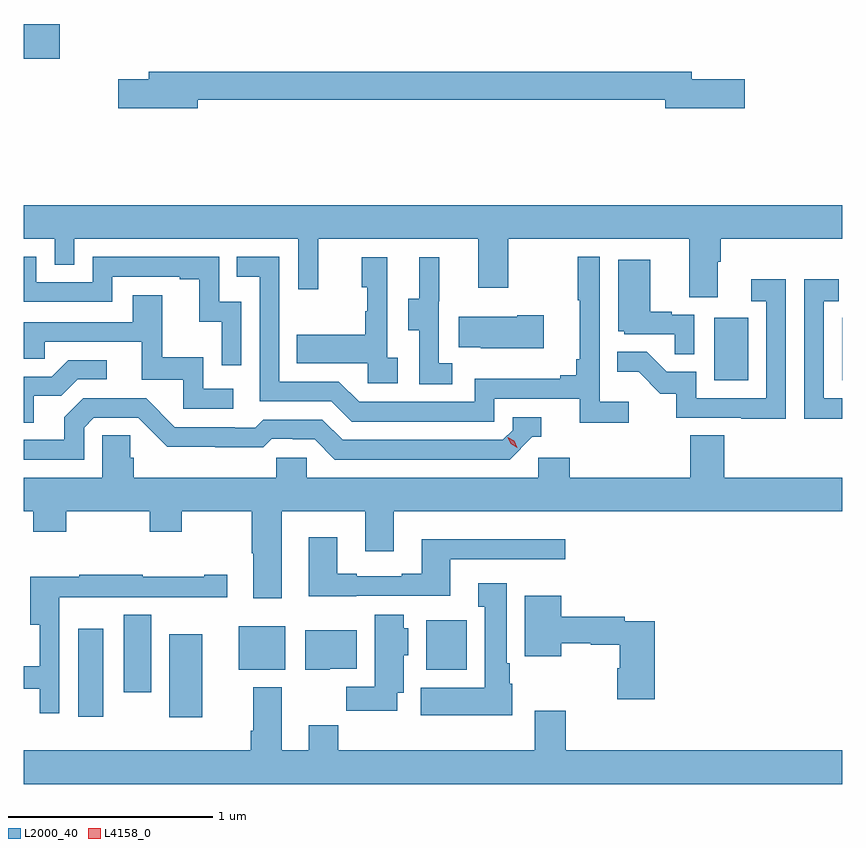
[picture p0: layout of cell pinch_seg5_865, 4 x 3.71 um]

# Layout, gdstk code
import gdstk
lib = gdstk.Library(unit=1e-6, precision=1e-09)
def R(c, l, rs):  # rectangles x0, y0, x1, y1
    for r in rs: c.add(gdstk.rectangle(r[:2], r[2:], *l))
def P(c, l, *ps):  # polygons
    for p in ps: c.add(gdstk.Polygon(p, *l))
L2000_40 = (2000, 40)
L4158_0 = (4158, 0)

pinch_seg5_865 = lib.new_cell('pinch_seg5_865')
R(pinch_seg5_865, L2000_40, [(839.576,889.053,839.737,889.459), (839.132,889.056,839.254,889.486), (839.354,889.176,839.488,889.556), (839.915,889.286,840.142,889.498), (840.833,889.286,841.03,889.528), (842.24,890.7,842.404,891.007), (842.864,890.7,842.865,891.007), (838.865,892.271,839.041,892.441)])
P(pinch_seg5_865, L2000_40, [(839.716,892.072),(842,892.072),(842,892.03),(842.389,892.03),(842.389,892.172),(842.128,892.172),(842.128,892.208),(839.477,892.208),(839.477,892.172),(839.328,892.172),(839.328,892.03),(839.716,892.03)],
  [(842.257,891.28),(842.27,891.28),(842.27,891.392),(842.865,891.392),(842.865,891.556),(838.865,891.556),(838.865,891.392),(839.016,891.392),(839.016,891.265),(839.112,891.265),(839.112,891.392),(840.207,891.392),(840.207,891.144),(840.305,891.144),(840.305,891.392),(841.085,891.392),(841.085,891.153),(841.233,891.153),(841.233,891.392),(842.117,891.392),(842.117,891.106),(842.257,891.106)],
  [(841.822,890.596),(841.68,890.596),(841.68,891.304),(841.572,891.304),(841.572,891.091),(841.583,891.091),(841.583,890.803),(841.564,890.803),(841.564,890.726),(841.487,890.726),(841.487,890.707),(841.068,890.707),(841.068,890.595),(840.504,890.595),(840.405,890.694),(840.114,890.694),(840.114,891.303),(839.905,891.303),(839.905,891.207),(840.018,891.207),(840.018,890.598),(840.368,890.598),(840.467,890.499),(841.164,890.499),(841.164,890.61),(841.583,890.61),(841.583,890.494),(841.822,890.494)],
  [(839.928,891.084),(839.82,891.084),(839.82,891.303),(839.202,891.303),(839.202,891.18),(838.926,891.18),(838.926,891.303),(838.865,891.303),(838.865,891.084),(839.298,891.084),(839.298,891.207),(839.627,891.207),(839.627,891.195),(839.723,891.195),(839.723,890.987),(839.832,890.987),(839.832,890.775),(839.928,890.775)],
  [(840.694,890.81),(840.642,890.81),(840.642,891.301),(840.518,891.301),(840.518,891.156),(840.544,891.156),(840.544,891.038),(840.534,891.038),(840.534,890.923),(840.199,890.923),(840.199,890.783),(840.546,890.783),(840.546,890.685),(840.694,890.685)],
  [(840.958,890.783),(840.894,890.783),(840.894,891.087),(840.896,891.087),(840.896,891.301),(840.797,891.301),(840.797,891.099),(840.743,891.099),(840.743,890.944),(840.798,890.944),(840.798,890.68),(840.958,890.68)],
  [(842.142,891.021),(842.031,891.021),(842.031,891.034),(841.927,891.034),(841.927,891.289),(841.769,891.289),(841.769,890.94),(841.8,890.94),(841.8,890.925),(842.047,890.925),(842.047,890.827),(842.142,890.827)],
  [(842.589,891.193),(842.421,891.193),(842.421,891.087),(842.493,891.087),(842.493,890.613),(842.151,890.613),(842.151,890.742),(842.007,890.742),(841.909,890.84),(841.765,890.84),(841.765,890.741),(841.869,890.741),(841.976,890.634),(842.053,890.634),(842.053,890.517),(842.371,890.517),(842.371,890.512),(842.589,890.512)],
  [(842.865,890.613),(842.775,890.613),(842.775,891.087),(842.848,891.087),(842.848,891.193),(842.679,891.193),(842.679,890.512),(842.865,890.512)],
  [(839.89,890.658),(839.742,890.658),(839.742,890.812),(839.543,890.812),(839.543,891.115),(839.399,891.115),(839.399,890.985),(838.865,890.985),(838.865,890.805),(838.967,890.805),(838.967,890.889),(839.441,890.889),(839.441,890.703),(839.646,890.703),(839.646,890.562),(839.89,890.562)],
  [(841.405,891.018),(841.277,891.018),(841.277,891.01),(840.991,891.01),(840.991,890.861),(841.099,890.861),(841.099,890.858),(841.405,890.858)],
  [(838.915,890.626),(839.05,890.626),(839.13,890.706),(839.272,890.706),(839.272,890.799),(839.084,890.799),(839.003,890.718),(838.865,890.718),(838.865,890.494),(838.915,890.494)],
  [(839.16,890.469),(839.208,890.517),(839.424,890.517),(839.566,890.375),(839.802,890.375),(839.802,890.373),(840.035,890.373),(840.077,890.415),(840.18,890.415),(840.18,890.412),(840.287,890.412),(840.386,890.313),(841.239,890.313),(841.35,890.424),(841.393,890.424),(841.393,890.52),(841.254,890.52),(841.254,890.457),(841.206,890.409),(840.423,890.409),(840.324,890.508),(840.035,890.508),(839.996,890.469),(839.897,890.469),(839.897,890.472),(839.604,890.472),(839.463,890.613),(839.157,890.613),(839.063,890.519),(839.063,890.409),(838.865,890.409),(838.865,890.313),(839.16,890.313)],
  [(840.127,890.06),(840.533,890.06),(840.533,889.866),(840.673,889.866),(840.673,890.06),(842.865,890.06),(842.865,890.224),(842.288,890.224),(842.288,890.432),(842.123,890.432),(842.123,890.224),(841.532,890.224),(841.532,890.322),(841.38,890.322),(841.38,890.224),(840.249,890.224),(840.249,890.322),(840.099,890.322),(840.099,890.224),(839.402,890.224),(839.402,890.322),(839.387,890.322),(839.387,890.432),(839.25,890.432),(839.25,890.224),(838.865,890.224),(838.865,890.06),(838.913,890.06),(838.913,889.961),(839.073,889.961),(839.073,890.06),(839.482,890.06),(839.482,889.961),(839.637,889.961),(839.637,890.06),(839.98,890.06),(839.98,889.856),(839.987,889.856),(839.987,889.635),(840.127,889.635)],
  [(840.489,889.647),(840.949,889.647),(840.949,889.827),(841.51,889.827),(841.51,889.924),(840.809,889.924),(840.809,889.756),(840.713,889.756),(840.713,889.743),(840.493,889.743),(840.493,889.756),(840.397,889.756),(840.397,889.933),(840.257,889.933),(840.257,889.646),(840.489,889.646)],
  [(839.04,889.64),(839.25,889.64),(839.25,889.641),(839.584,889.641),(839.584,889.64),(839.86,889.64),(839.86,889.75),(839.747,889.75),(839.747,889.74),(839.447,889.74),(839.447,889.75),(839.137,889.75),(839.137,889.74),(838.898,889.74),(838.898,889.505),(838.944,889.505),(838.944,889.304),(838.865,889.304),(838.865,889.194),(838.944,889.194),(838.944,889.074),(839.04,889.074)],
  [(841.252,889.218),(841.24,889.218),(841.24,889.318),(841.225,889.318),(841.225,889.708),(841.085,889.708),(841.085,889.595),(841.118,889.595),(841.118,889.198),(840.806,889.198),(840.806,889.064),(841.252,889.064)],
  [(841.949,889.524),(841.802,889.524),(841.802,889.544),(841.492,889.544),(841.492,889.648),(841.313,889.648),(841.313,889.352),(841.492,889.352),(841.492,889.416),(841.635,889.416),(841.635,889.408),(841.778,889.408),(841.778,889.293),(841.766,889.293),(841.766,889.143),(841.949,889.143)],
  [(840.691,889.175),(840.721,889.175),(840.721,889.356),(840.745,889.356),(840.745,889.488),(840.721,889.488),(840.721,889.555),(840.581,889.555),(840.581,889.204),(840.442,889.204),(840.442,889.086),(840.691,889.086)],
  [(840.36,889.292),(840.493,889.292),(840.493,889.48),(840.242,889.48),(840.242,889.286),(840.36,889.286)],
  [(842.865,888.892),(841.514,888.892),(841.514,889.087),(841.361,889.087),(841.361,888.892),(840.401,888.892),(840.401,889.016),(840.257,889.016),(840.257,888.892),(840.127,888.892),(840.127,889.201),(839.987,889.201),(839.987,888.988),(839.975,888.988),(839.975,888.892),(838.865,888.892),(838.865,888.728),(842.865,888.728)])
P(pinch_seg5_865, L4158_0, [(841.277,890.371),(841.246,890.39),(841.229,890.423),(841.229,890.423),(841.23,890.423),(841.261,890.404),(841.277,890.371),(841.277,890.371)])

lib.write_gds('pinch_seg5_865.gds')
